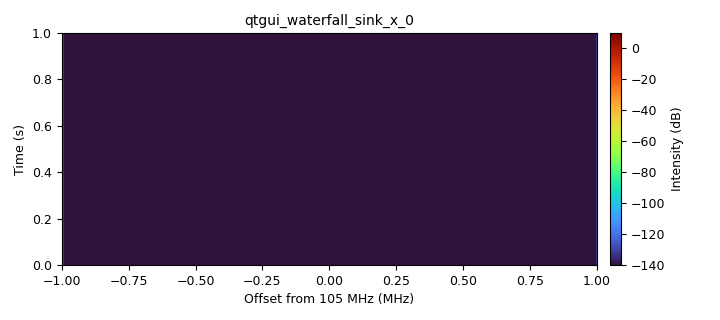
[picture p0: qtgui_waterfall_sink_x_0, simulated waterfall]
<?xml version='1.0' encoding='utf-8'?>
<?grc format='1' created='3.7.11'?>
<flow_graph>
<block>
<key>options</key>
<param><key>id</key><value>top_block</value></param>
<param><key>generate_options</key><value>qt_gui</value></param>
</block>
<block>
<key>variable_qtgui_range</key>
<param><key>id</key><value>ampt</value></param>
<param><key>value</key><value>0.7</value></param>
<param><key>orient</key><value>Qt.Horizontal</value></param>
<param><key>start</key><value>0</value></param>
<param><key>step</key><value>0.1</value></param>
<param><key>stop</key><value>2</value></param>
</block>
<block>
<key>variable_qtgui_range</key>
<param><key>id</key><value>bb_gain</value></param>
<param><key>value</key><value>0</value></param>
<param><key>orient</key><value>Qt.Horizontal</value></param>
<param><key>start</key><value>0</value></param>
<param><key>step</key><value>2</value></param>
<param><key>stop</key><value>62</value></param>
</block>
<block>
<key>variable_qtgui_range</key>
<param><key>id</key><value>freq</value></param>
<param><key>value</key><value>105e6</value></param>
<param><key>orient</key><value>Qt.Horizontal</value></param>
<param><key>start</key><value>105e6</value></param>
<param><key>step</key><value>0.1e6</value></param>
<param><key>stop</key><value>110e6</value></param>
</block>
<block>
<key>variable_qtgui_range</key>
<param><key>id</key><value>if_gain</value></param>
<param><key>value</key><value>0</value></param>
<param><key>orient</key><value>Qt.Horizontal</value></param>
<param><key>start</key><value>0</value></param>
<param><key>step</key><value>8</value></param>
<param><key>stop</key><value>40</value></param>
</block>
<block>
<key>variable_qtgui_range</key>
<param><key>id</key><value>rf_gain</value></param>
<param><key>value</key><value>0</value></param>
<param><key>orient</key><value>Qt.Horizontal</value></param>
<param><key>start</key><value>0</value></param>
<param><key>step</key><value>1</value></param>
<param><key>stop</key><value>12</value></param>
</block>
<block>
<key>variable</key>
<param><key>id</key><value>samp_rate</value></param>
<param><key>value</key><value>2e6</value></param>
</block>
<block>
<key>analog_sig_source_x</key>
<param><key>id</key><value>analog_sig_source_x_0</value></param>
<param><key>amp</key><value>ampt</value></param>
<param><key>freq</key><value>freq</value></param>
<param><key>offset</key><value>0</value></param>
<param><key>type</key><value>complex</value></param>
<param><key>samp_rate</key><value>samp_rate</value></param>
<param><key>waveform</key><value>analog.GR_COS_WAVE</value></param>
</block>
<block>
<key>osmosdr_sink</key>
<param><key>id</key><value>osmosdr_sink</value></param>
<param><key>bb_gain0</key><value>bb_gain</value></param>
<param><key>freq0</key><value>freq</value></param>
<param><key>if_gain0</key><value>if_gain</value></param>
<param><key>gain0</key><value>rf_gain</value></param>
<param><key>args</key><value></value></param>
<param><key>type</key><value>fc32</value></param>
<param><key>sample_rate</key><value>samp_rate</value></param>
<param><key>sync</key><value></value></param>
</block>
<block>
<key>qtgui_waterfall_sink_x</key>
<param><key>id</key><value>qtgui_waterfall_sink_x_0</value></param>
<param><key>bw</key><value>samp_rate</value></param>
<param><key>fc</key><value>freq</value></param>
<param><key>fftsize</key><value>1024*8</value></param>
<param><key>showports</key><value>True</value></param>
<param><key>type</key><value>complex</value></param>
<param><key>wintype</key><value>firdes.WIN_BLACKMAN_hARRIS</value></param>
</block>
<connection><source_block_id>analog_sig_source_x_0</source_block_id><sink_block_id>osmosdr_sink</sink_block_id><source_key>0</source_key><sink_key>0</sink_key></connection>
<connection><source_block_id>analog_sig_source_x_0</source_block_id><sink_block_id>qtgui_waterfall_sink_x_0</sink_block_id><source_key>0</source_key><sink_key>0</sink_key></connection>
</flow_graph>
